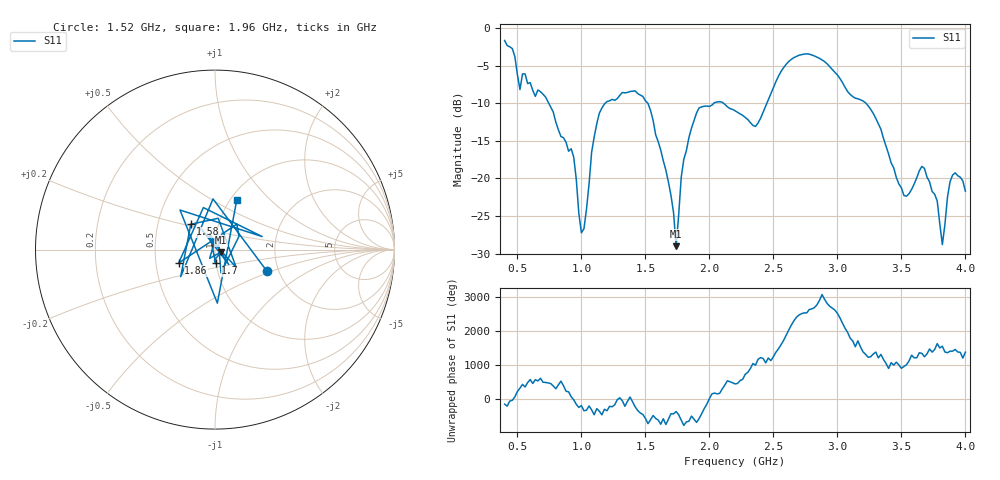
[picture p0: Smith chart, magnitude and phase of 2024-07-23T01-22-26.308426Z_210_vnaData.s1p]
!Created with skrf (http://scikit-rf.org).
# Hz S RI R 50.0
!freq ReS11 ImS11
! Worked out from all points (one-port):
!   181 points, 400 MHz to 4 GHz, reference 50 ohm
!   lowest |S11| = -29.0 dB at 1.74 GHz (marker M1), VSWR 1.07, Z = 53.3 - j1.51 ohm
!   |S11| at or under -10 dB: 744.8 MHz to 1.187 GHz (442.1 MHz wide, 45.8 % of centre); 1.518 GHz to 2.036 GHz (517.2 MHz wide, 29.1 % of centre); 3.222 GHz to end of sweep (the widest 3 of 4)
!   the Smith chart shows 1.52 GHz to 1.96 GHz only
!   S11 on the Smith chart (normalised r, x): 1.52 GHz: 1.74, -0.47; 1.58 GHz: 0.74, +0.22; 1.7 GHz: 1.00, -0.15; 1.86 GHz: 0.66, -0.10; 1.96 GHz: 1.07, +0.65
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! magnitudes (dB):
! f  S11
! 400 MHz  -1.7
! 480 MHz  -3.8
! 520 MHz  -8.2
! 560 MHz  -6.1
! 860 MHz  -14.6
! 940 MHz  -17.2
! 1 GHz  -27.2
! 1.14 GHz  -11.3
! 1.3 GHz  -9.0
! 1.52 GHz  -10.0
! 1.58 GHz  -14.2
! 1.7 GHz  -22.3
! 1.74 GHz  -29.0
! 1.76 GHz  -24.8
! 1.8 GHz  -17.5
! 1.86 GHz  -13.3
! 1.96 GHz  -10.4
! 2.2 GHz  -11.0
! 2.36 GHz  -13.1
! 2.66 GHz  -3.9
! 3.1 GHz  -8.8
! 3.28 GHz  -11.4
! 3.56 GHz  -22.0
! 3.68 GHz  -18.7
! 3.78 GHz  -23.0
! 3.82 GHz  -28.8
! 3.9 GHz  -19.6
! 4 GHz  -21.7
